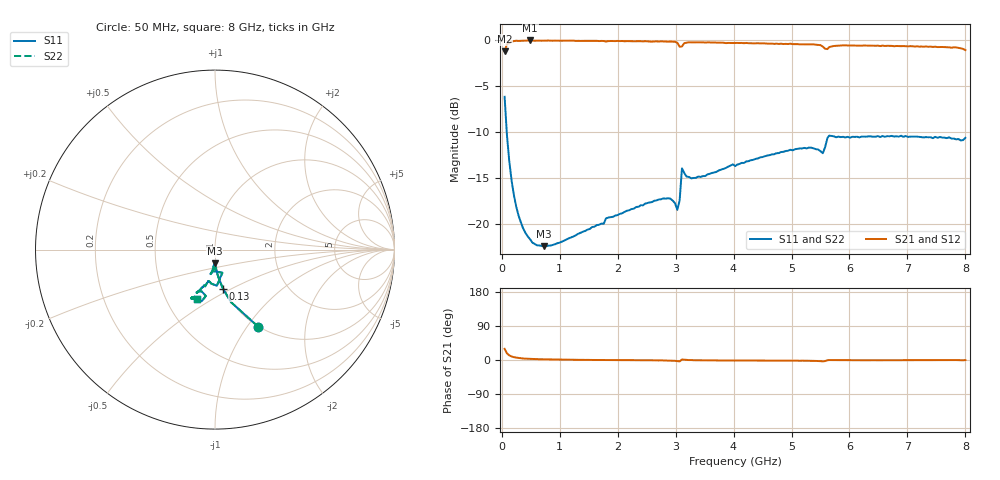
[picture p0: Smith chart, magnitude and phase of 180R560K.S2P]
!  American Technical Ceramics  Date:  3/13/98
!  One Norden Lane
!  Huntington Station,  NY.  11746-2102
!  Tel:  (516) 547-5700  Fax:  (516) 547-5748
!  Part Number  180r560k
!  Description: Porcelain, High Q, Low ESR
!  Application: Bypass, Coupling, Timing, Feedback
!  Tuning, Impedance Match, Blocking
# GHZ S DB R 50
! Freq  |S11|  S11 Ph  |S21|  S21 Ph  |S12|  S12 Ph  |S22|  S22 Ph
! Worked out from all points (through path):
!   201 points, 50 MHz to 8 GHz, reference 50 ohm
!   highest |S21| = -0.01 dB at 490 MHz (marker M1); lowest = -1.2 dB at 50 MHz (marker M2)
!   lowest |S11| = -22.4 dB at 730 MHz (marker M3), VSWR 1.16, Z = 49.2 - j7.54 ohm
!   |S11| at or under -10 dB: 87.39 MHz to end of sweep
!   |S22| runs from -22.4 to -6.1 dB; largest |S21 - S12| = 0
!   S11 on the Smith chart (normalised r, x): 50 MHz: 0.99, -1.13; 130 MHz: 0.99, -0.45; 8 GHz: 0.71, -0.43
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0.05  -6.13 -60.7  -1.19 29.4  -1.19 29.4  -6.13 -60.7
0.09  -10.27 -73.0  -0.42 17.6  -0.42 17.6  -10.27 -73.0
0.13  -13.09 -78.5  -0.30 12.3  -0.30 12.3  -13.09 -78.5
0.21  -16.80 -83.8  -0.08 7.5  -0.08 7.5  -16.80 -83.8
0.29  -19.02 -86.6  -0.06 5.5  -0.06 5.5  -19.02 -86.6
0.49  -21.61 -89.8  -0.01 3.0  -0.01 3.0  -21.61 -89.8
0.73  -22.36 -91.8  -0.03 1.6  -0.03 1.6  -22.36 -91.8
1.4  -20.79 -94.2  -0.05 0.4  -0.05 0.4  -20.79 -94.2
2.71  -17.29 -99.5  -0.13 -1.1  -0.13 -1.1  -17.29 -99.5
2.91  -17.20 -100.2  -0.13 -1.4  -0.13 -1.4  -17.20 -100.2
3.03  -18.42 -94.4  -0.26 -2.8  -0.26 -2.8  -18.42 -94.4
3.07  -17.37 -72.3  -0.69 -3.7  -0.69 -3.7  -17.37 -72.3
3.11  -13.91 -87.1  -0.66 1.3  -0.66 1.3  -13.91 -87.1
3.15  -14.41 -96.6  -0.30 0.8  -0.30 0.8  -14.41 -96.6
3.27  -14.99 -101.2  -0.22 -0.1  -0.22 -0.1  -14.99 -101.2
4.03  -13.66 -106.8  -0.28 -1.3  -0.28 -1.3  -13.66 -106.8
5.38  -11.73 -113.3  -0.44 -2.4  -0.44 -2.4  -11.73 -113.3
5.54  -12.26 -107.9  -0.68 -3.6  -0.68 -3.6  -12.26 -107.9
5.58  -11.59 -101.2  -0.91 -2.8  -0.91 -2.8  -11.59 -101.2
5.65  -10.35 -107.9  -0.73 -0.2  -0.73 -0.2  -10.35 -107.9
6.69  -10.42 -115.6  -0.60 -0.5  -0.60 -0.5  -10.42 -115.6
8  -10.59 -110.2  -1.06 -0.2  -1.06 -0.2  -10.59 -110.2
